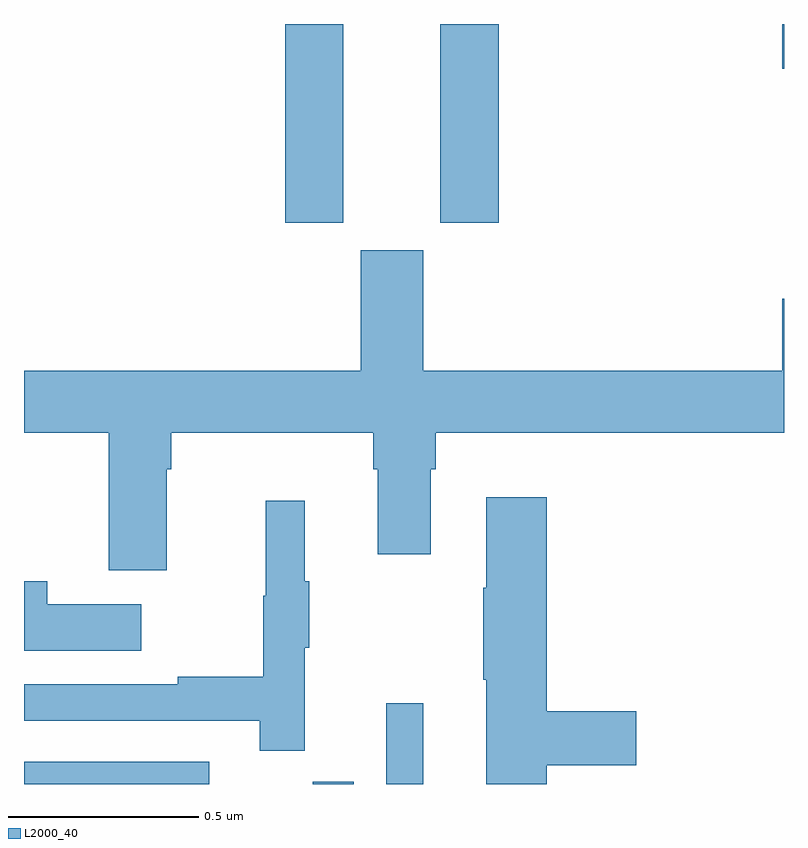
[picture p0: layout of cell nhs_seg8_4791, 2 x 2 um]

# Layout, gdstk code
import gdstk
lib = gdstk.Library(unit=1e-6, precision=1e-09)
def R(c, l, rs):  # rectangles x0, y0, x1, y1
    for r in rs: c.add(gdstk.rectangle(r[:2], r[2:], *l))
def P(c, l, *ps):  # polygons
    for p in ps: c.add(gdstk.Polygon(p, *l))
L2000_40 = (2000, 40)

nhs_seg8_4791 = lib.new_cell('nhs_seg8_4791')
R(nhs_seg8_4791, L2000_40, [(175,1124.9,175.488,1124.958), (175.76,1124.9,175.868,1124.906), (175.953,1124.9,176.05,1125.112), (175.688,1126.377,175.84,1126.9), (176.096,1126.377,176.249,1126.9), (176.996,1126.782,177,1126.9)])
P(nhs_seg8_4791, L2000_40, [(175.375,1125.728),(175.388,1125.728),(175.388,1125.824),(175.919,1125.824),(175.919,1125.728),(175.931,1125.728),(175.931,1125.504),(176.071,1125.504),(176.071,1125.728),(176.084,1125.728),(176.084,1125.824),(177,1125.824),(177,1126.177),(176.996,1126.177),(176.996,1125.988),(176.05,1125.988),(176.05,1126.305),(175.886,1126.305),(175.886,1125.988),(175,1125.988),(175,1125.824),(175.223,1125.824),(175.223,1125.462),(175.375,1125.462)],
  [(176.375,1124.95),(176.611,1124.95),(176.611,1125.092),(176.375,1125.092),(176.375,1125.655),(176.216,1125.655),(176.216,1125.416),(176.209,1125.416),(176.209,1125.175),(176.216,1125.175),(176.216,1124.9),(176.375,1124.9)],
  [(175.739,1125.259),(175.75,1125.259),(175.75,1125.433),(175.739,1125.433),(175.739,1125.646),(175.636,1125.646),(175.636,1125.396),(175.629,1125.396),(175.629,1125.182),(175.405,1125.182),(175.405,1125.162),(175,1125.162),(175,1125.066),(175.621,1125.066),(175.621,1124.988),(175.739,1124.988)],
  [(175.309,1125.373),(175.061,1125.373),(175.061,1125.433),(175,1125.433),(175,1125.251),(175.309,1125.251)])

lib.write_gds('nhs_seg8_4791.gds')
